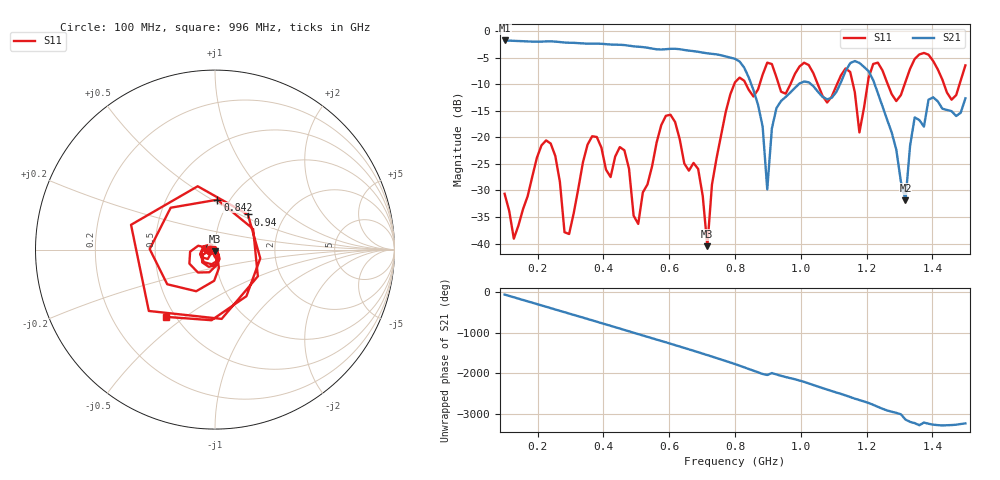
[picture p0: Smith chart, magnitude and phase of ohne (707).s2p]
! NanoVNA-App
! Date: 2025-09-25 14:26:18
! Start: 100MHz Stop: 1,5GHz Points: 101
! S-Parameter data: F S11 S21 S12 S22
# Hz S RI R 50
!  Frequency  S11_Real  S11_Imag  S21_Real  S21_Imag  S12_Real  S12_Imag  S22_Real  S22_Imag
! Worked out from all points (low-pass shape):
!   101 points, 100 MHz to 1.5 GHz, reference 50 ohm
!   highest |S21| = -1.79 dB at 100 MHz (marker M1); lowest = -31.8 dB at 1.318 GHz (marker M2)
!   |S21| within 3 dB of the highest: start of sweep to 771 MHz
!   lowest |S11| = -40.5 dB at 716 MHz (marker M3), VSWR 1.02, Z = 49.8 - j0.929 ohm
!   |S11| at or under -10 dB: start of sweep to 797.9 MHz; 833 MHz to 875.1 MHz (42.04 MHz wide, 4.92 % of centre); 1.051 GHz to 1.11 GHz (58.9 MHz wide, 5.45 % of centre)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
!   S12 and S22 are empty: the file has one direction only
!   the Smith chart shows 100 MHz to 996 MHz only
!   S11 on the Smith chart (normalised r, x): 100 MHz: 0.94, -0.01; 842 MHz: 0.88, +0.53; 940 MHz: 1.32, +0.55; 996 MHz: 0.45, -0.43
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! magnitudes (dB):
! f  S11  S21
! 100 MHz  -30.6  -1.8
! 128 MHz  -39.1  -1.9
! 226 MHz  -20.6  -2.0
! 296 MHz  -38.2  -2.2
! 338 MHz  -24.7  -2.3
! 464 MHz  -22.5  -2.7
! 506 MHz  -36.3  -3.0
! 576 MHz  -17.7  -3.5
! 688 MHz  -26.0  -3.9
! 716 MHz  -40.5  -4.2
! 800 MHz  -9.7  -5.3
! 842 MHz  -11.1  -8.8
! 898 MHz  -6.0  -29.8
! 940 MHz  -11.4  -13.2
! 996 MHz  -6.7  -9.9
! 1.038 GHz  -7.9  -10.4
! 1.178 GHz  -19.1  -6.0
! 1.22 GHz  -6.2  -9.3
! 1.276 GHz  -11.9  -19.1
! 1.318 GHz  -9.6  -31.8
! 1.346 GHz  -5.3  -16.3
! 1.5 GHz  -6.5  -12.7
